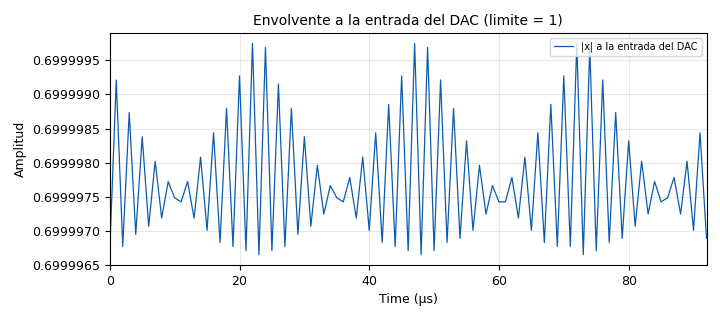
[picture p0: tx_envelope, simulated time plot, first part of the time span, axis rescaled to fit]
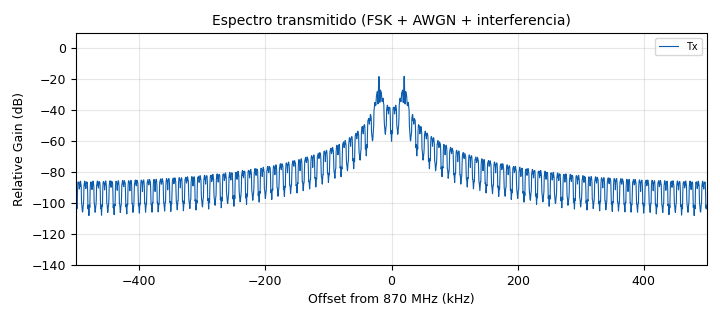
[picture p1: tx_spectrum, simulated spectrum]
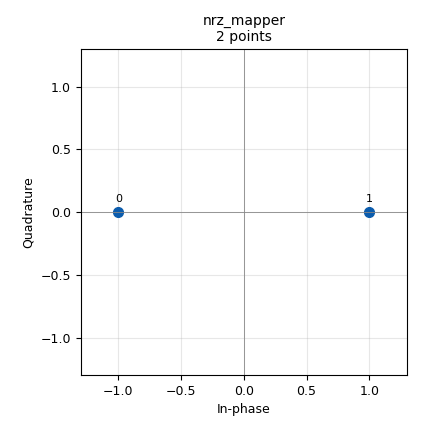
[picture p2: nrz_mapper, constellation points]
options:
  parameters:
    comment: Transmisor FSK con USRP 2920 + ruido AWGN + tono interferente
    description: Transmisor FSK binario por USRP 2920 con canal degradado (telemetria industrial)
    generate_options: qt_gui
    id: Transmisor_FSK_USRP_Ruido
    output_language: python
    title: Transmisor FSK - USRP 2920 (AWGN + interferencia)
  states: {}

blocks:
- name: ebn0_db
  id: variable_qtgui_label
  parameters:
    label: Eb/N0 inyectado = 10log10(sps/σ²)
    type: string
    value: ('%.1f dB' % (10*math.log10(sps/noise_voltage**2))) if noise_voltage > 0 else 'sin ruido'
  states: {}
- name: fc
  id: variable
  parameters:
    comment: Frecuencia portadora
    value: 870e6
  states: {}
- name: fsk_deviation
  id: variable_qtgui_range
  parameters:
    label: Desviación FSK (Hz)
    start: '5000'
    step: '1000'
    stop: '100000'
    value: '20000'
  states: {}
- name: interf_amp
  id: variable_qtgui_range
  parameters:
    comment: |-
      Tono interferente (armonicos de variadores u otro equipo),
      amplitud relativa a la senal FSK (1 = misma amplitud)
    label: Amplitud del tono interferente (relativa)
    start: '0'
    step: '0.01'
    stop: '2'
    value: '0'
  states: {}
- name: interf_freq
  id: variable_qtgui_range
  parameters:
    comment: |-
      Frecuencia del tono respecto a fc.
      +/-20 kHz = encima de un tono FSK; >60 kHz = fuera del filtro del receptor
    label: Frecuencia del tono interferente respecto a fc (Hz)
    start: '-100000'
    step: '1000'
    stop: '100000'
    value: '20000'
  states: {}
- name: noise_voltage
  id: variable_qtgui_range
  parameters:
    comment: |-
      Ruido AWGN (sigma), relativo a la senal FSK de amplitud 1.
      Potencia de ruido = sigma^2 sobre samp_rate -> Eb/N0 = sps/sigma^2
    label: Ruido AWGN (noise_voltage σ)
    start: '0'
    step: '0.05'
    stop: '5'
    value: '0'
  states: {}
- name: norm
  id: variable
  parameters:
    comment: |-
      Normalizacion por pico: |senal + ruido + tono| <= 1 + 3*sigma + A
      Escala todo junto -> no cambia Eb/N0 ni SIR, y el DAC no satura
    value: 1.0/(1 + 3*noise_voltage + interf_amp)
  states: {}
- name: samp_rate
  id: variable
  parameters:
    comment: |-
      Misma tasa para el modulador y el USRP
      (100 MHz / 100 = 1 MS/s, valida en el 2920)
    value: 1e6
  states: {}
- name: sir_db
  id: variable_qtgui_label
  parameters:
    label: Relación señal/interferencia SIR = -20log10(A)
    type: string
    value: ('%.1f dB' % (-20*math.log10(interf_amp))) if interf_amp > 0 else 'sin interferencia'
  states: {}
- name: sps
  id: variable
  parameters:
    comment: Muestras por simbolo
    value: '100'
  states: {}
- name: symbol_rate
  id: variable
  parameters:
    value: samp_rate/sps
  states: {}
- name: tx_amp
  id: variable_qtgui_range
  parameters:
    comment: |-
      Amplitud digital a la entrada del DAC. Maximo 0.8: con ruido
      los picos llegan a ~1.23*tx_amp (medido), asi no satura
    label: Amplitud
    start: '0'
    step: '0.01'
    stop: '0.8'
    value: '0.7'
  states: {}
- name: tx_gain
  id: variable_qtgui_range
  parameters:
    comment: 'Ganancia TX del 2920 (WBX): 0 a 31.5 dB'
    label: Ganancia TX (dB)
    start: '0'
    step: '0.5'
    stop: '31.5'
    value: '10'
  states: {}
- name: amp_scale
  id: blocks_multiply_const_vxx
  parameters:
    comment: tx_amp * norm (pico <= tx_amp)
    const: tx_amp*norm
    type: complex
  states: {}
- name: awgn_source
  id: analog_noise_source_x
  parameters:
    amp: noise_voltage
    comment: 'AWGN complejo: potencia sigma^2'
    noise_type: analog.GR_GAUSSIAN
    seed: '0'
    type: complex
  states: {}
- name: bit_source
  id: blocks_vector_source_x
  parameters:
    repeat: 'True'
    type: byte
    vector: '[0,1,0,0,1,1,0,1,1,1,0,0,1,0,1,0]'
  states: {}
- name: channel_sum
  id: blocks_add_xx
  parameters:
    comment: Senal + AWGN + tono
    num_inputs: '3'
    type: complex
  states: {}
- name: fsk_modulator
  id: analog_frequency_modulator_fc
  parameters:
    comment: Senal FSK de amplitud 1
    sensitivity: 2*math.pi*fsk_deviation/samp_rate
  states: {}
- name: import_0
  id: import
  parameters:
    imports: import math
  states: {}
- name: interf_source
  id: analog_sig_source_x
  parameters:
    amp: interf_amp
    comment: Tono interferente (coseno complejo)
    freq: interf_freq
    offset: '0'
    phase: '0'
    samp_rate: samp_rate
    type: complex
    waveform: analog.GR_COS_WAVE
  states: {}
- name: nrz_mapper
  id: digital_chunks_to_symbols_xx
  parameters:
    comment: |-
      bit 0 -> -1 (fc - desviacion)
      bit 1 -> +1 (fc + desviacion)
    dimension: '1'
    in_type: byte
    out_type: float
    symbol_table: '[-1.0, 1.0]'
  states: {}
- name: symbol_repeat
  id: blocks_repeat
  parameters:
    interp: sps
    type: float
  states: {}
- name: tx_envelope
  id: qtgui_time_sink_x
  parameters:
    comment: Debe quedar por debajo de 1 (si llega a 1 el DAC satura)
    grid: 'True'
    label1: '|x| a la entrada del DAC'
    name: '"Envolvente a la entrada del DAC (limite = 1)"'
    size: '4096'
    srate: samp_rate
    type: float
    ylabel: Amplitud
    ymax: '1.2'
    ymin: '0'
  states: {}
- name: tx_mag
  id: blocks_complex_to_mag
  parameters: {}
  states: {}
- name: tx_spectrum
  id: qtgui_freq_sink_x
  parameters:
    average: '0.2'
    bw: samp_rate
    fc: fc
    fftsize: '2048'
    grid: 'True'
    label1: Tx
    name: '"Espectro transmitido (FSK + AWGN + interferencia)"'
    type: complex
  states: {}
- name: uhd_usrp_sink_0
  id: uhd_usrp_sink
  parameters:
    ant0: '"TX/RX"'
    center_freq0: fc
    comment: 'USRP 2920: sin GPSDO -> Sync = none'
    gain0: tx_gain
    samp_rate: samp_rate
    sync: none
    type: fc32
  states: {}

connections:
- [amp_scale, '0', tx_mag, '0']
- [amp_scale, '0', tx_spectrum, '0']
- [amp_scale, '0', uhd_usrp_sink_0, '0']
- [awgn_source, '0', channel_sum, '1']
- [bit_source, '0', nrz_mapper, '0']
- [channel_sum, '0', amp_scale, '0']
- [fsk_modulator, '0', channel_sum, '0']
- [interf_source, '0', channel_sum, '2']
- [nrz_mapper, '0', symbol_repeat, '0']
- [symbol_repeat, '0', fsk_modulator, '0']
- [tx_mag, '0', tx_envelope, '0']

metadata:
  file_format: 1
  grc_version: 3.10.12.0
